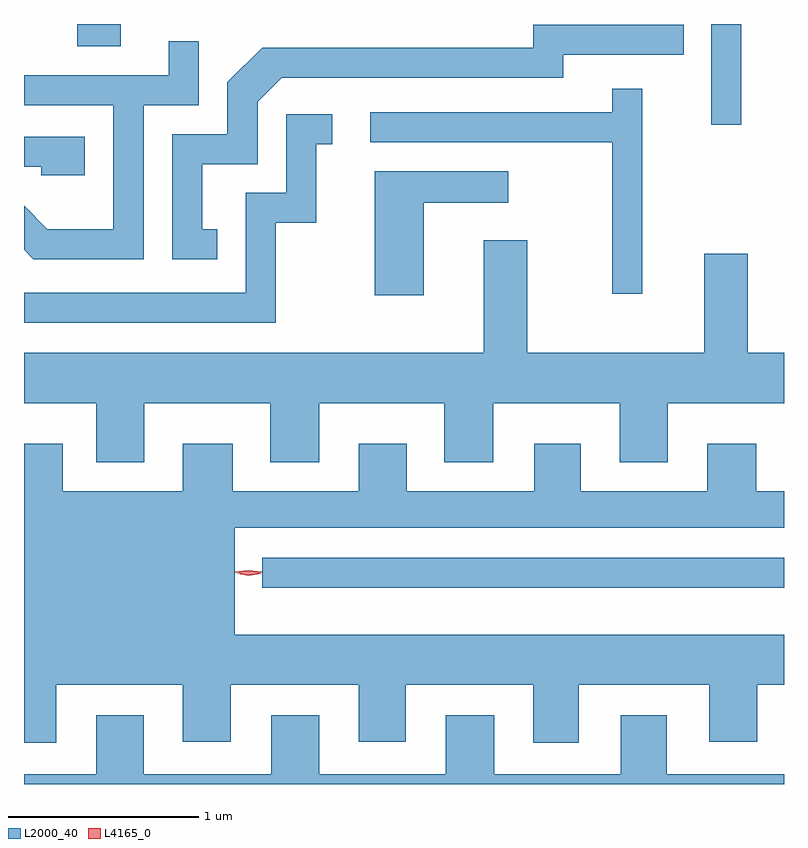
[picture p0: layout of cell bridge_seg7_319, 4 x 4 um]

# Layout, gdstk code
import gdstk
lib = gdstk.Library(unit=1e-6, precision=1e-09)
def R(c, l, rs):  # rectangles x0, y0, x1, y1
    for r in rs: c.add(gdstk.rectangle(r[:2], r[2:], *l))
def P(c, l, *ps):  # polygons
    for p in ps: c.add(gdstk.Polygon(p, *l))
L2000_40 = (2000, 40)
L4165_0 = (4165, 0)

bridge_seg7_319 = lib.new_cell('bridge_seg7_319')
R(bridge_seg7_319, L2000_40, [(1127.463,1777.726,1130.21,1777.884), (1129.826,1780.163,1129.984,1780.693), (1126.491,1780.576,1126.719,1780.693)])
P(bridge_seg7_319, L2000_40, [(1127.228,1779.614),(1127.149,1779.614),(1127.149,1779.956),(1127.439,1779.956),(1127.439,1780.284),(1127.567,1780.411),(1129.049,1780.411),(1129.049,1780.531),(1129.683,1780.531),(1129.683,1780.689),(1128.891,1780.689),(1128.891,1780.569),(1127.464,1780.569),(1127.281,1780.387),(1127.281,1780.114),(1126.991,1780.114),(1126.991,1779.456),(1127.228,1779.456)],
  [(1126.839,1780.266),(1127.129,1780.266),(1127.129,1780.603),(1126.971,1780.603),(1126.971,1780.424),(1126.21,1780.424),(1126.21,1780.266),(1126.681,1780.266),(1126.681,1779.614),(1126.332,1779.614),(1126.21,1779.736),(1126.21,1779.505),(1126.259,1779.456),(1126.839,1779.456)],
  [(1129.464,1780.353),(1129.306,1780.353),(1129.306,1780.229),(1128.033,1780.229),(1128.033,1780.071),(1129.306,1780.071),(1129.306,1779.273),(1129.464,1779.273)],
  [(1127.534,1779.646),(1127.749,1779.646),(1127.749,1780.061),(1127.833,1780.061),(1127.833,1780.219),(1127.591,1780.219),(1127.591,1779.804),(1127.376,1779.804),(1127.376,1779.279),(1126.21,1779.279),(1126.21,1779.121),(1127.534,1779.121)],
  [(1126.529,1780.099),(1126.21,1780.099),(1126.21,1779.941),(1126.301,1779.941),(1126.301,1779.896),(1126.529,1779.896)],
  [(1128.314,1779.751),(1128.758,1779.751),(1128.758,1779.919),(1128.056,1779.919),(1128.056,1779.266),(1128.314,1779.266)],
  [(1128.679,1778.696),(1129.346,1778.696),(1129.346,1778.386),(1129.599,1778.386),(1129.599,1778.696),(1130.21,1778.696),(1130.21,1778.964),(1130.019,1778.964),(1130.019,1779.484),(1129.791,1779.484),(1129.791,1778.964),(1128.859,1778.964),(1128.859,1779.554),(1128.631,1779.554),(1128.631,1778.964),(1126.21,1778.964),(1126.21,1778.696),(1126.591,1778.696),(1126.591,1778.386),(1126.844,1778.386),(1126.844,1778.696),(1127.506,1778.696),(1127.506,1778.386),(1127.764,1778.386),(1127.764,1778.696),(1128.421,1778.696),(1128.421,1778.386),(1128.679,1778.386)],
  [(1126.379,1777.216),(1127.046,1777.216),(1127.046,1776.916),(1127.299,1776.916),(1127.299,1777.216),(1127.971,1777.216),(1127.971,1776.916),(1128.219,1776.916),(1128.219,1777.216),(1128.891,1777.216),(1128.891,1776.911),(1129.129,1776.911),(1129.129,1777.216),(1129.816,1777.216),(1129.816,1776.916),(1130.069,1776.916),(1130.069,1777.216),(1130.21,1777.216),(1130.21,1777.479),(1127.319,1777.479),(1127.319,1778.041),(1130.21,1778.041),(1130.21,1778.234),(1130.064,1778.234),(1130.064,1778.484),(1129.806,1778.484),(1129.806,1778.234),(1129.139,1778.234),(1129.139,1778.484),(1128.896,1778.484),(1128.896,1778.234),(1128.224,1778.234),(1128.224,1778.484),(1127.971,1778.484),(1127.971,1778.234),(1127.309,1778.234),(1127.309,1778.484),(1127.046,1778.484),(1127.046,1778.234),(1126.414,1778.234),(1126.414,1778.484),(1126.21,1778.484),(1126.21,1776.911),(1126.379,1776.911)],
  [(1130.21,1776.744),(1129.594,1776.744),(1129.594,1777.054),(1129.351,1777.054),(1129.351,1776.744),(1128.684,1776.744),(1128.684,1777.054),(1128.431,1777.054),(1128.431,1776.744),(1127.764,1776.744),(1127.764,1777.054),(1127.511,1777.054),(1127.511,1776.744),(1126.839,1776.744),(1126.839,1777.054),(1126.591,1777.054),(1126.591,1776.744),(1126.21,1776.744),(1126.21,1776.693),(1130.21,1776.693)])
P(bridge_seg7_319, L4165_0, [(1127.391,1777.798),(1127.323,1777.808),(1127.322,1777.808),(1127.323,1777.809),(1127.391,1777.818),(1127.46,1777.809),(1127.46,1777.808),(1127.46,1777.808)],
  [(1127.394,1777.79),(1127.332,1777.799),(1127.332,1777.8),(1127.332,1777.8),(1127.394,1777.81),(1127.456,1777.801),(1127.457,1777.8),(1127.456,1777.8)])

lib.write_gds('bridge_seg7_319.gds')
